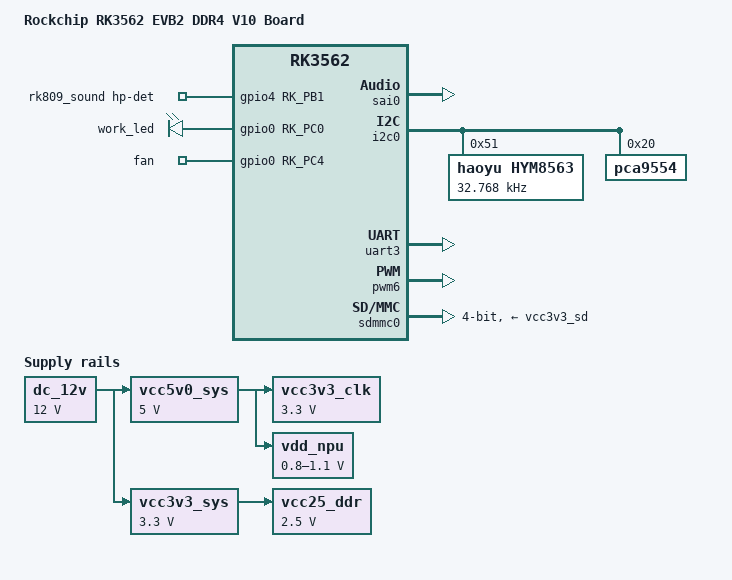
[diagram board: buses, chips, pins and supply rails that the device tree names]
// SPDX-License-Identifier: (GPL-2.0+ OR MIT)
/*
 * Copyright (c) 2022 Rockchip Electronics Co., Ltd.
 *
 */

/dts-v1/;

#include "rk3562.dtsi"
#include "rk3562-kickpi-evb.dtsi"
#include "rk3562-rk809.dtsi"
#include <dt-bindings/gpio/gpio.h>
#include <dt-bindings/pinctrl/rockchip.h>
#include <dt-bindings/sensor-dev.h>

#include "rk3562-kickpi-usb.dtsi"
#include "rk3562-kickpi-ir-pwm3.dtsi"
#include "rk3562-kickpi-wifibt.dtsi"
#include "rk3562-kickpi-pcie-m2.dtsi"
#include "rk3562-kickpi-extend-20pin.dtsi"

#include "rk3562-kickpi-gmac0.dtsi"
#include "rk3562-kickpi-gmac1.dtsi"

//#include "rk3562-kickpi-dual-mipi-camera-gc5035.dtsi"

#include "rk3562-kickpi-mipi-camera0.dtsi"
#include "rk3562-kickpi-mipi-camera1.dtsi"

//#include "rk3562-kickpi-lcd-mipi-10.1-800-1280.dtsi"
#include "rk3562-kickpi-lcd-mipi-10.1-800-1280-v2.dtsi"  // MX101BA1340-48C
//#include "rk3562-kickpi-lcd-mipi-8-800-1280.dtsi"    // MX080B2140-H538C
//#include "rk3562-kickpi-lcd-mipi-5-720-1280.dtsi"
//#include "rk3562-kickpi-lcd-duallvds-6-1920-1080.dtsi"
//#include "rk3562-kickpi-lcd-lvds-7-1024-600.dtsi"
 

/ {
	model = "Rockchip RK3562 EVB2 DDR4 V10 Board";
	compatible = "rockchip,rk3562-evb2-ddr4-v10", "rockchip,rk3562";

	dc_12v: dc-12v {
		compatible = "regulator-fixed";
		regulator-name = "dc_12v";
		regulator-always-on;
		regulator-boot-on;
		regulator-min-microvolt = <12000000>;
		regulator-max-microvolt = <12000000>;
	};

	rk809_sound: rk809-sound {
		status = "okay";
		compatible = "rockchip,multicodecs-card";
		rockchip,card-name = "rockchip-rk809";
		hp-det-gpio = <&gpio4 RK_PB1 GPIO_ACTIVE_HIGH>;
		rockchip,format = "i2s";
		rockchip,mclk-fs = <256>;
		rockchip,cpu = <&sai0>;
		rockchip,codec = <&rk809_codec>;
		pinctrl-names = "default";
		pinctrl-0 = <&hp_det>;
	};

	vcc5v0_sys: vcc5v0-sys {
		compatible = "regulator-fixed";
		regulator-name = "vcc5v0_sys";
		regulator-always-on;
		regulator-boot-on;
		regulator-min-microvolt = <5000000>;
		regulator-max-microvolt = <5000000>;
		vin-supply = <&dc_12v>;
	};

	vcc3v3_clk: vcc3v3-clk {
		compatible = "regulator-fixed";
		regulator-name = "vcc3v3_clk";
		regulator-min-microvolt = <3300000>;
		regulator-max-microvolt = <3300000>;
		vin-supply = <&vcc5v0_sys>;
	};

	vcc3v3_sys: vcc-sys {
		compatible = "regulator-fixed";
		regulator-name = "vcc3v3_sys";
		regulator-always-on;
		regulator-boot-on;
		regulator-min-microvolt = <3300000>;
		regulator-max-microvolt = <3300000>;
		vin-supply = <&dc_12v>;
	};

	vcc25_ddr: vcc25-ddr {
		compatible = "regulator-fixed";
		regulator-name = "vcc25_ddr";
		regulator-always-on;
		regulator-boot-on;
		regulator-min-microvolt = <2500000>;
		regulator-max-microvolt = <2500000>;
		vin-supply = <&vcc3v3_sys>;
	};

	vdd_npu: vdd-npu {
		compatible = "pwm-regulator";
		pwms = <&pwm6 0 5000 1>;
		regulator-name = "vdd_npu";
		regulator-min-microvolt = <800000>;
		regulator-max-microvolt = <1100000>;
		regulator-init-microvolt = <900000>;
		regulator-always-on;
		regulator-boot-on;
		regulator-settling-time-up-us = <250>;
		pwm-supply = <&vcc5v0_sys>;
		status = "okay";
	};
};

&leds {
	work_led: work-led {
		gpios = <&gpio0 RK_PC0 GPIO_ACTIVE_HIGH>;
		linux,default-trigger = "heartbeat";
	};
	fan: fan {
		gpios = <&gpio0 RK_PC4 GPIO_ACTIVE_HIGH>;
		default-state = "on";
	};
};

&sai0 {
        status = "okay";
        pinctrl-names = "default";
        pinctrl-0 = <&i2s0m0_lrck
                     &i2s0m0_sclk
                     &i2s0m0_sdi0
                     &i2s0m0_sdo0>;
};

&i2c0 {
        status = "okay";

        hym8563: hym8563@51 {
                compatible = "haoyu,hym8563";
                reg = <0x51>;
                #clock-cells = <0>;
                clock-frequency = <32768>;
                clock-output-names = "hym8563";
                // IRQ GPIO IS MODIFYED FOR UPDATE HYM8562 DRIVER 
                //rtc-irq-gpio = <&gpio0 RK_PD3 IRQ_TYPE_EDGE_FALLING>;
        };

        pca9554: gpio@20 {
                compatible = "pca9554";
                reg = <0x20>;
                status = "okay";

                pca9554_gpio: gpio-normal@20 {
                        compatible = "pca9554-gpio";
                        gpio-controller;
                        #gpio-cells = <2>;
                };
        };
};

&uart3 {
        status = "okay";
        pinctrl-names = "default";
        pinctrl-0 = <&uart3m0_xfer>;
};

&pwm6 {
	status = "okay";
};

&pinctrl {
	headphone {
		hp_det: hp-det {
			rockchip,pins = <4 RK_PB1 RK_FUNC_GPIO &pcfg_pull_up>;
		};
	};
};

&sdmmc0 {
	no-sdio;
	no-mmc;
	bus-width = <4>;
	cap-mmc-highspeed;
	cap-sd-highspeed;
	disable-wp;
	sd-uhs-sdr104;
	vmmc-supply = <&vcc3v3_sd>;
	vqmmc-supply = <&vccio_sd>;
	pinctrl-names = "default";
	pinctrl-0 = <&sdmmc0_bus4 &sdmmc0_clk &sdmmc0_cmd &sdmmc0_det>;
	status = "okay";
};

